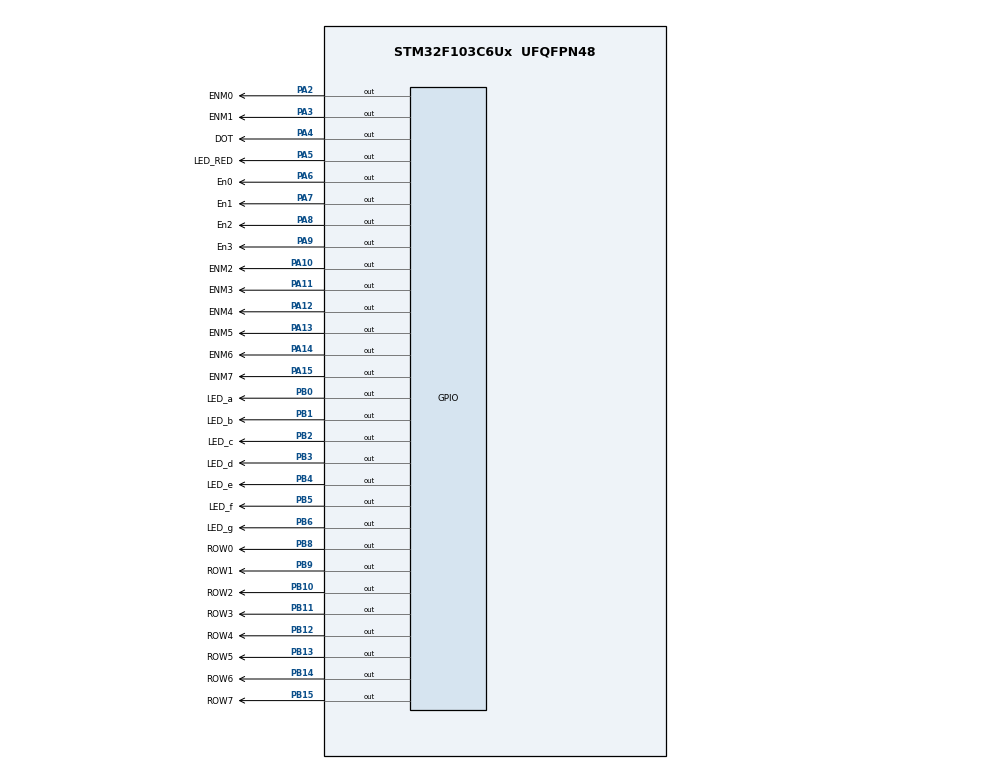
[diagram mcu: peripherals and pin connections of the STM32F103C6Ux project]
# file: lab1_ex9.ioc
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Mcu.Family=STM32F1
Mcu.Name=STM32F103C6Ux
Mcu.Package=UFQFPN48
NVIC.PriorityGroup=NVIC_PRIORITYGROUP_4
NVIC.TIM2_IRQn=true\:0\:0\:false\:false\:true\:true\:true\:true
PA10.GPIO_Label=ENM2
PA10.Signal=GPIO_Output
PA11.GPIO_Label=ENM3
PA11.Signal=GPIO_Output
PA12.GPIO_Label=ENM4
PA12.Signal=GPIO_Output
PA13.GPIO_Label=ENM5
PA13.Signal=GPIO_Output
PA14.GPIO_Label=ENM6
PA14.Signal=GPIO_Output
PA15.GPIO_Label=ENM7
PA15.Signal=GPIO_Output
PA2.GPIO_Label=ENM0
PA2.Signal=GPIO_Output
PA3.GPIO_Label=ENM1
PA3.Signal=GPIO_Output
PA4.GPIO_Label=DOT
PA4.Signal=GPIO_Output
PA5.GPIO_Label=LED_RED
PA5.Signal=GPIO_Output
PA6.GPIO_Label=En0
PA6.Signal=GPIO_Output
PA7.GPIO_Label=En1
PA7.Signal=GPIO_Output
PA8.GPIO_Label=En2
PA8.Signal=GPIO_Output
PA9.GPIO_Label=En3
PA9.Signal=GPIO_Output
PB0.GPIO_Label=LED_a
PB0.Signal=GPIO_Output
PB1.GPIO_Label=LED_b
PB1.Signal=GPIO_Output
PB10.GPIO_Label=ROW2
PB10.Signal=GPIO_Output
PB11.GPIO_Label=ROW3
PB11.Signal=GPIO_Output
PB12.GPIO_Label=ROW4
PB12.Signal=GPIO_Output
PB13.GPIO_Label=ROW5
PB13.Signal=GPIO_Output
PB14.GPIO_Label=ROW6
PB14.Signal=GPIO_Output
PB15.GPIO_Label=ROW7
PB15.Signal=GPIO_Output
PB2.GPIO_Label=LED_c
PB2.Signal=GPIO_Output
PB3.GPIO_Label=LED_d
PB3.Signal=GPIO_Output
PB4.GPIO_Label=LED_e
PB4.Signal=GPIO_Output
PB5.GPIO_Label=LED_f
PB5.Signal=GPIO_Output
PB6.GPIO_Label=LED_g
PB6.Signal=GPIO_Output
PB8.GPIO_Label=ROW0
PB8.Signal=GPIO_Output
PB9.GPIO_Label=ROW1
PB9.Signal=GPIO_Output
ProjectManager.HeapSize=0x200
ProjectManager.StackSize=0x400
ProjectManager.TargetToolchain=STM32CubeIDE
RCC.APB1Freq_Value=8000000
RCC.APB2Freq_Value=8000000
TIM2.Period=9
TIM2.Prescaler=7999
VP_SYS_VS_ND.Mode=No_Debug
VP_TIM2_VS_ClockSourceINT.Mode=Internal
board=custom

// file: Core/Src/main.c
/* USER CODE BEGIN Header */
/**
  ******************************************************************************
  * @file           : main.c
  * @brief          : Main program body
  ******************************************************************************
  * @attention
  *
  * Copyright (c) 2025 STMicroelectronics.
  * All rights reserved.
  *
  * This software is licensed under terms that can be found in the LICENSE file
  * in the root directory of this software component.
  * If no LICENSE file comes with this software, it is provided AS-IS.
  *
  ******************************************************************************
  */
/* USER CODE END Header */
#include "main.h"

TIM_HandleTypeDef htim2;

void SystemClock_Config(void);
static void MX_GPIO_Init(void);
static void MX_TIM2_Init(void);

/* USER CODE BEGIN 0 */
int timer0_counter = 0;
int timer0_flag = 0;
int TIMER_CYCLE = 10;
void setTimer0(int duration){
	timer0_counter = duration / 10;
	timer0_flag = 0;
}
void timer_run(){
	if(timer0_counter > 0){
		 timer0_counter--;
		 if(timer0_counter == 0) timer0_flag = 1;
	}
}

int hour = 23, minute = 598, second = 55;

void clear7SEG() {
    HAL_GPIO_WritePin(LED_a_GPIO_Port, LED_a_Pin, GPIO_PIN_SET);
    HAL_GPIO_WritePin(LED_b_GPIO_Port, LED_b_Pin, GPIO_PIN_SET);
    HAL_GPIO_WritePin(LED_c_GPIO_Port, LED_c_Pin, GPIO_PIN_SET);
    HAL_GPIO_WritePin(LED_d_GPIO_Port, LED_d_Pin, GPIO_PIN_SET);
    HAL_GPIO_WritePin(LED_e_GPIO_Port, LED_e_Pin, GPIO_PIN_SET);
    HAL_GPIO_WritePin(LED_f_GPIO_Port, LED_f_Pin, GPIO_PIN_SET);
    HAL_GPIO_WritePin(LED_g_GPIO_Port, LED_g_Pin, GPIO_PIN_SET);
}

void display7SEG(int num){
	  // common anode => set = off; reset= on
	  clear7SEG();
	  switch(num){
	  case 0:
		  HAL_GPIO_WritePin(LED_g_GPIO_Port, LED_g_Pin, SET);

		  HAL_GPIO_WritePin(LED_a_GPIO_Port, LED_a_Pin, RESET);
		  HAL_GPIO_WritePin(LED_b_GPIO_Port, LED_b_Pin, RESET);
		  HAL_GPIO_WritePin(LED_c_GPIO_Port, LED_c_Pin, RESET);
		  HAL_GPIO_WritePin(LED_d_GPIO_Port, LED_d_Pin, RESET);
		  HAL_GPIO_WritePin(LED_e_GPIO_Port, LED_e_Pin, RESET);
		  HAL_GPIO_WritePin(LED_f_GPIO_Port, LED_f_Pin, RESET);
		  break;

	  case 1:
		  HAL_GPIO_WritePin(LED_a_GPIO_Port, LED_a_Pin, SET);
		  HAL_GPIO_WritePin(LED_f_GPIO_Port, LED_f_Pin, SET);
		  HAL_GPIO_WritePin(LED_e_GPIO_Port, LED_e_Pin, SET);
		  HAL_GPIO_WritePin(LED_d_GPIO_Port, LED_d_Pin, SET);

		  HAL_GPIO_WritePin(LED_b_GPIO_Port, LED_b_Pin, RESET);
		  HAL_GPIO_WritePin(LED_c_GPIO_Port, LED_c_Pin, RESET);
		  break;
     case 2: // a b d e g sang
         HAL_GPIO_WritePin(LED_a_GPIO_Port, LED_a_Pin, GPIO_PIN_RESET);
         HAL_GPIO_WritePin(LED_b_GPIO_Port, LED_b_Pin, GPIO_PIN_RESET);
         HAL_GPIO_WritePin(LED_c_GPIO_Port, LED_c_Pin, GPIO_PIN_SET);
         HAL_GPIO_WritePin(LED_d_GPIO_Port, LED_d_Pin, GPIO_PIN_RESET);
         HAL_GPIO_WritePin(LED_e_GPIO_Port, LED_e_Pin, GPIO_PIN_RESET);
         HAL_GPIO_WritePin(LED_f_GPIO_Port, LED_f_Pin, GPIO_PIN_SET);
         HAL_GPIO_WritePin(LED_g_GPIO_Port, LED_g_Pin, GPIO_PIN_RESET);
         break;
     case 3: // a b c d g sang
         HAL_GPIO_WritePin(LED_a_GPIO_Port, LED_a_Pin, GPIO_PIN_RESET);
         HAL_GPIO_WritePin(LED_b_GPIO_Port, LED_b_Pin, GPIO_PIN_RESET);
         HAL_GPIO_WritePin(LED_c_GPIO_Port, LED_c_Pin, GPIO_PIN_RESET);
         HAL_GPIO_WritePin(LED_d_GPIO_Port, LED_d_Pin, GPIO_PIN_RESET);
         HAL_GPIO_WritePin(LED_e_GPIO_Port, LED_e_Pin, GPIO_PIN_SET);
         HAL_GPIO_WritePin(LED_f_GPIO_Port, LED_f_Pin, GPIO_PIN_SET);
         HAL_GPIO_WritePin(LED_g_GPIO_Port, LED_g_Pin, GPIO_PIN_RESET);
         break;

     case 4: // b c f g sang
         HAL_GPIO_WritePin(LED_a_GPIO_Port, LED_a_Pin, GPIO_PIN_SET);
         HAL_GPIO_WritePin(LED_b_GPIO_Port, LED_b_Pin, GPIO_PIN_RESET);
         HAL_GPIO_WritePin(LED_c_GPIO_Port, LED_c_Pin, GPIO_PIN_RESET);
         HAL_GPIO_WritePin(LED_d_GPIO_Port, LED_d_Pin, GPIO_PIN_SET);
         HAL_GPIO_WritePin(LED_e_GPIO_Port, LED_e_Pin, GPIO_PIN_SET);
         HAL_GPIO_WritePin(LED_f_GPIO_Port, LED_f_Pin, GPIO_PIN_RESET);
         HAL_GPIO_WritePin(LED_g_GPIO_Port, LED_g_Pin, GPIO_PIN_RESET);
         break;

     case 5: // a c d f g sang
         HAL_GPIO_WritePin(LED_a_GPIO_Port, LED_a_Pin, GPIO_PIN_RESET);
         HAL_GPIO_WritePin(LED_b_GPIO_Port, LED_b_Pin, GPIO_PIN_SET);
         HAL_GPIO_WritePin(LED_c_GPIO_Port, LED_c_Pin, GPIO_PIN_RESET);
         HAL_GPIO_WritePin(LED_d_GPIO_Port, LED_d_Pin, GPIO_PIN_RESET);
         HAL_GPIO_WritePin(LED_e_GPIO_Port, LED_e_Pin, GPIO_PIN_SET);
         HAL_GPIO_WritePin(LED_f_GPIO_Port, LED_f_Pin, GPIO_PIN_RESET);
         HAL_GPIO_WritePin(LED_g_GPIO_Port, LED_g_Pin, GPIO_PIN_RESET);
         break;

     case 6: // a c d e f g sang
         HAL_GPIO_WritePin(LED_a_GPIO_Port, LED_a_Pin, GPIO_PIN_RESET);
         HAL_GPIO_WritePin(LED_b_GPIO_Port, LED_b_Pin, GPIO_PIN_SET);
         HAL_GPIO_WritePin(LED_c_GPIO_Port, LED_c_Pin, GPIO_PIN_RESET);
         HAL_GPIO_WritePin(LED_d_GPIO_Port, LED_d_Pin, GPIO_PIN_RESET);
         HAL_GPIO_WritePin(LED_e_GPIO_Port, LED_e_Pin, GPIO_PIN_RESET);
         HAL_GPIO_WritePin(LED_f_GPIO_Port, LED_f_Pin, GPIO_PIN_RESET);
         HAL_GPIO_WritePin(LED_g_GPIO_Port, LED_g_Pin, GPIO_PIN_RESET);
         break;

     case 7: // a b c sang
         HAL_GPIO_WritePin(LED_a_GPIO_Port, LED_a_Pin, GPIO_PIN_RESET);
         HAL_GPIO_WritePin(LED_b_GPIO_Port, LED_b_Pin, GPIO_PIN_RESET);
         HAL_GPIO_WritePin(LED_c_GPIO_Port, LED_c_Pin, GPIO_PIN_RESET);
         HAL_GPIO_WritePin(LED_d_GPIO_Port, LED_d_Pin, GPIO_PIN_SET);
         HAL_GPIO_WritePin(LED_e_GPIO_Port, LED_e_Pin, GPIO_PIN_SET);
         HAL_GPIO_WritePin(LED_f_GPIO_Port, LED_f_Pin, GPIO_PIN_SET);
         HAL_GPIO_WritePin(LED_g_GPIO_Port, LED_g_Pin, GPIO_PIN_SET);
         break;

     case 8: // all
         HAL_GPIO_WritePin(LED_a_GPIO_Port, LED_a_Pin, GPIO_PIN_RESET);
         HAL_GPIO_WritePin(LED_b_GPIO_Port, LED_b_Pin, GPIO_PIN_RESET);
         HAL_GPIO_WritePin(LED_c_GPIO_Port, LED_c_Pin, GPIO_PIN_RESET);
         HAL_GPIO_WritePin(LED_d_GPIO_Port, LED_d_Pin, GPIO_PIN_RESET);
         HAL_GPIO_WritePin(LED_e_GPIO_Port, LED_e_Pin, GPIO_PIN_RESET);
         HAL_GPIO_WritePin(LED_f_GPIO_Port, LED_f_Pin, GPIO_PIN_RESET);
         HAL_GPIO_WritePin(LED_g_GPIO_Port, LED_g_Pin, GPIO_PIN_RESET);
         break;

     case 9: // a b c d f g sang
         HAL_GPIO_WritePin(LED_a_GPIO_Port, LED_a_Pin, GPIO_PIN_RESET);
         HAL_GPIO_WritePin(LED_b_GPIO_Port, LED_b_Pin, GPIO_PIN_RESET);
         HAL_GPIO_WritePin(LED_c_GPIO_Port, LED_c_Pin, GPIO_PIN_RESET);
         HAL_GPIO_WritePin(LED_d_GPIO_Port, LED_d_Pin, GPIO_PIN_RESET);
         HAL_GPIO_WritePin(LED_e_GPIO_Port, LED_e_Pin, GPIO_PIN_SET);
         HAL_GPIO_WritePin(LED_f_GPIO_Port, LED_f_Pin, GPIO_PIN_RESET);
         HAL_GPIO_WritePin(LED_g_GPIO_Port, LED_g_Pin, GPIO_PIN_RESET);
         break;
	  }
 }

const unsigned int MAX_LED = 4;
int led_buffer[4] ;
void update7SEG ( int index ){
	switch (index) {
		case 0:
			display7SEG(led_buffer[0]);
			HAL_GPIO_WritePin(En0_GPIO_Port, En0_Pin, GPIO_PIN_RESET);
			HAL_GPIO_WritePin(En1_GPIO_Port, En1_Pin, GPIO_PIN_SET);
			HAL_GPIO_WritePin(En2_GPIO_Port, En2_Pin, GPIO_PIN_SET);
			HAL_GPIO_WritePin(En3_GPIO_Port, En3_Pin, GPIO_PIN_SET);
			break;
		case 1:
			display7SEG(led_buffer[1]);
			HAL_GPIO_WritePin(En0_GPIO_Port, En0_Pin, GPIO_PIN_SET);
			HAL_GPIO_WritePin(En1_GPIO_Port, En1_Pin, GPIO_PIN_RESET);
			HAL_GPIO_WritePin(En2_GPIO_Port, En2_Pin, GPIO_PIN_SET);
			HAL_GPIO_WritePin(En3_GPIO_Port, En3_Pin, GPIO_PIN_SET);
			break;
		case 2:
			display7SEG(led_buffer[2]);
			HAL_GPIO_WritePin(En0_GPIO_Port, En0_Pin, GPIO_PIN_SET);
			HAL_GPIO_WritePin(En1_GPIO_Port, En1_Pin, GPIO_PIN_SET);
			HAL_GPIO_WritePin(En2_GPIO_Port, En2_Pin, GPIO_PIN_RESET);
			HAL_GPIO_WritePin(En3_GPIO_Port, En3_Pin, GPIO_PIN_SET);
			break;
		case 3:
			display7SEG(led_buffer[3]);
			HAL_GPIO_WritePin(En0_GPIO_Port, En0_Pin, GPIO_PIN_SET);
			HAL_GPIO_WritePin(En1_GPIO_Port, En1_Pin, GPIO_PIN_SET);
			HAL_GPIO_WritePin(En2_GPIO_Port, En2_Pin, GPIO_PIN_SET);
			HAL_GPIO_WritePin(En3_GPIO_Port, En3_Pin, GPIO_PIN_RESET);
			break;
		default:
			HAL_GPIO_WritePin(En0_GPIO_Port, En0_Pin, GPIO_PIN_RESET);
			HAL_GPIO_WritePin(En1_GPIO_Port, En1_Pin, GPIO_PIN_RESET);
			HAL_GPIO_WritePin(En2_GPIO_Port, En2_Pin, GPIO_PIN_RESET);
			HAL_GPIO_WritePin(En3_GPIO_Port, En3_Pin, GPIO_PIN_RESET);
			break;
	}
}

void updateClockBuffer() {
	led_buffer[0] = hour / 10;
	led_buffer[1] = hour % 10;
	led_buffer[2] = minute / 10;
	led_buffer[3] = minute % 10;
}

const int MAX_LED_MATRIX = 8;
int index_led_matrix = 0;

uint8_t matrix_buffer[8] = {
    0b11111111,  // hàng 1
    0b11100111,  // hàng 2
    0b11011011,  // hàng 3
    0b10111101,  // hàng 4
    0b10000001,  // hàng 5
    0b10111101,  // hàng 6
    0b10111101,  // hàng 7
    0b11111111   // hàng 8
};

void clearAllRows(){
	HAL_GPIO_WritePin(GPIOB, ROW0_Pin, SET);
	HAL_GPIO_WritePin(GPIOB, ROW1_Pin, SET);
	HAL_GPIO_WritePin(GPIOB, ROW2_Pin, SET);
	HAL_GPIO_WritePin(GPIOB, ROW3_Pin, SET);
	HAL_GPIO_WritePin(GPIOB, ROW4_Pin, SET);
	HAL_GPIO_WritePin(GPIOB, ROW5_Pin, SET);
	HAL_GPIO_WritePin(GPIOB, ROW6_Pin, SET);
	HAL_GPIO_WritePin(GPIOB, ROW7_Pin, SET);
}

void enableRow(uint8_t index) {
    switch(index) {
        case 0: HAL_GPIO_WritePin(GPIOB, ROW0_Pin, GPIO_PIN_RESET); break;
        case 1: HAL_GPIO_WritePin(GPIOB, ROW1_Pin, GPIO_PIN_RESET); break;
        case 2: HAL_GPIO_WritePin(GPIOB, ROW2_Pin, GPIO_PIN_RESET); break;
        case 3: HAL_GPIO_WritePin(GPIOB, ROW3_Pin, GPIO_PIN_RESET); break;
        case 4: HAL_GPIO_WritePin(GPIOB, ROW4_Pin, GPIO_PIN_RESET); break;
        case 5: HAL_GPIO_WritePin(GPIOB, ROW5_Pin, GPIO_PIN_RESET); break;
        case 6: HAL_GPIO_WritePin(GPIOB, ROW6_Pin, GPIO_PIN_RESET); break;
        case 7: HAL_GPIO_WritePin(GPIOB, ROW7_Pin, GPIO_PIN_RESET); break;
        default: break;
    }
}

void outputToColumns(uint8_t data) {
    // COL0..COL7 = PA2, PA3, PA10..PA15
    HAL_GPIO_WritePin(GPIOA, GPIO_PIN_2,  (data & 0x01) ? GPIO_PIN_SET : GPIO_PIN_RESET);
    HAL_GPIO_WritePin(GPIOA, GPIO_PIN_3,  (data & 0x02) ? GPIO_PIN_SET : GPIO_PIN_RESET);
    HAL_GPIO_WritePin(GPIOA, GPIO_PIN_10, (data & 0x04) ? GPIO_PIN_SET : GPIO_PIN_RESET);
    HAL_GPIO_WritePin(GPIOA, GPIO_PIN_11, (data & 0x08) ? GPIO_PIN_SET : GPIO_PIN_RESET);
    HAL_GPIO_WritePin(GPIOA, GPIO_PIN_12, (data & 0x10) ? GPIO_PIN_SET : GPIO_PIN_RESET);
    HAL_GPIO_WritePin(GPIOA, GPIO_PIN_13, (data & 0x20) ? GPIO_PIN_SET : GPIO_PIN_RESET);
    HAL_GPIO_WritePin(GPIOA, GPIO_PIN_14, (data & 0x40) ? GPIO_PIN_SET : GPIO_PIN_RESET);
    HAL_GPIO_WritePin(GPIOA, GPIO_PIN_15, (data & 0x80) ? GPIO_PIN_SET : GPIO_PIN_RESET);
}

void updateLEDMatrix(int index) {
    clearAllRows();
    outputToColumns(matrix_buffer[index]);
    enableRow(index);
}

void displayMatrix(uint8_t *buffer);

void shiftLeftAnimation() {
    for (int i = 0; i < 8; i++) {
        uint8_t msb = (matrix_buffer[i] & 0x80) >> 7;
        matrix_buffer[i] <<= 1;
        matrix_buffer[i] |= msb;
    }
}

/* USER CODE END 0 */

int main(void)
{

  /* MCU Configuration--------------------------------------------------------*/

  /* Reset of all peripherals, Initializes the Flash interface and the Systick. */
  HAL_Init();

  /* Configure the system clock */
  SystemClock_Config();

  /* Initialize all configured peripherals */
  MX_GPIO_Init();
  MX_TIM2_Init();
  /* USER CODE BEGIN 2 */
  updateClockBuffer();
  HAL_TIM_Base_Start_IT (&htim2);
  /* USER CODE END 2 */

  /* Infinite loop */
  /* USER CODE BEGIN WHILE */
  setTimer0(1000);
    while (1)
    {
      /* USER CODE END WHILE */
  	  if(timer0_flag == 1){
  		  HAL_GPIO_TogglePin(LED_RED_GPIO_Port, LED_RED_Pin);
  		  setTimer0(2000);
  	  }
  second++;
      if (second >= 60)
      {
          second = 0;
          minute++;
      }
      if (minute >= 60)
      {
          minute = 0;
          hour++;
      }
      if (hour >= 24)
      {
          hour = 0;
      }
      updateClockBuffer();
      HAL_Delay(1000);
    }
  }
void SystemClock_Config(void)
{
  RCC_OscInitTypeDef RCC_OscInitStruct = {0};
  RCC_ClkInitTypeDef RCC_ClkInitStruct = {0};

  /** Initializes the RCC Oscillators according to the specified parameters
  * in the RCC_OscInitTypeDef structure.
  */
  RCC_OscInitStruct.OscillatorType = RCC_OSCILLATORTYPE_HSI;
  RCC_OscInitStruct.HSIState = RCC_HSI_ON;
  RCC_OscInitStruct.HSICalibrationValue = RCC_HSICALIBRATION_DEFAULT;
  RCC_OscInitStruct.PLL.PLLState = RCC_PLL_NONE;
  if (HAL_RCC_OscConfig(&RCC_OscInitStruct) != HAL_OK)
  {
    Error_Handler();
  }

  /** Initializes the CPU, AHB and APB buses clocks
  */
  RCC_ClkInitStruct.ClockType = RCC_CLOCKTYPE_HCLK|RCC_CLOCKTYPE_SYSCLK
                              |RCC_CLOCKTYPE_PCLK1|RCC_CLOCKTYPE_PCLK2;
  RCC_ClkInitStruct.SYSCLKSource = RCC_SYSCLKSOURCE_HSI;
  RCC_ClkInitStruct.AHBCLKDivider = RCC_SYSCLK_DIV1;
  RCC_ClkInitStruct.APB1CLKDivider = RCC_HCLK_DIV1;
  RCC_ClkInitStruct.APB2CLKDivider = RCC_HCLK_DIV1;

  if (HAL_RCC_ClockConfig(&RCC_ClkInitStruct, FLASH_LATENCY_0) != HAL_OK)
  {
    Error_Handler();
  }
}

static void MX_TIM2_Init(void)
{

  TIM_ClockConfigTypeDef sClockSourceConfig = {0};
  TIM_MasterConfigTypeDef sMasterConfig = {0};

  htim2.Instance = TIM2;
  htim2.Init.Prescaler = 7999;
  htim2.Init.CounterMode = TIM_COUNTERMODE_UP;
  htim2.Init.Period = 9;
  htim2.Init.ClockDivision = TIM_CLOCKDIVISION_DIV1;
  htim2.Init.AutoReloadPreload = TIM_AUTORELOAD_PRELOAD_DISABLE;
  if (HAL_TIM_Base_Init(&htim2) != HAL_OK)
  {
    Error_Handler();
  }
  sClockSourceConfig.ClockSource = TIM_CLOCKSOURCE_INTERNAL;
  if (HAL_TIM_ConfigClockSource(&htim2, &sClockSourceConfig) != HAL_OK)
  {
    Error_Handler();
  }
  sMasterConfig.MasterOutputTrigger = TIM_TRGO_RESET;
  sMasterConfig.MasterSlaveMode = TIM_MASTERSLAVEMODE_DISABLE;
  if (HAL_TIMEx_MasterConfigSynchronization(&htim2, &sMasterConfig) != HAL_OK)
  {
    Error_Handler();
  }

}

static void MX_GPIO_Init(void)
{
  GPIO_InitTypeDef GPIO_InitStruct = {0};

  /* GPIO Ports Clock Enable */
  __HAL_RCC_GPIOA_CLK_ENABLE();
  __HAL_RCC_GPIOB_CLK_ENABLE();

  /*Configure GPIO pin Output Level */
  HAL_GPIO_WritePin(GPIOA, ENM0_Pin|ENM1_Pin|DOT_Pin|LED_RED_Pin
                          |En0_Pin|En1_Pin|En2_Pin|En3_Pin
                          |ENM2_Pin|ENM3_Pin|ENM4_Pin|ENM5_Pin
                          |ENM6_Pin|ENM7_Pin, GPIO_PIN_RESET);

  /*Configure GPIO pin Output Level */
  HAL_GPIO_WritePin(GPIOB, LED_a_Pin|LED_b_Pin|LED_c_Pin|ROW2_Pin
                          |ROW3_Pin|ROW4_Pin|ROW5_Pin|ROW6_Pin
                          |ROW7_Pin|LED_d_Pin|LED_e_Pin|LED_f_Pin
                          |LED_g_Pin|ROW0_Pin|ROW1_Pin, GPIO_PIN_RESET);

  /*Configure GPIO pins : ENM0_Pin ENM1_Pin DOT_Pin LED_RED_Pin
                           En0_Pin En1_Pin En2_Pin En3_Pin
                           ENM2_Pin ENM3_Pin ENM4_Pin ENM5_Pin
                           ENM6_Pin ENM7_Pin */
  GPIO_InitStruct.Pin = ENM0_Pin|ENM1_Pin|DOT_Pin|LED_RED_Pin
                          |En0_Pin|En1_Pin|En2_Pin|En3_Pin
                          |ENM2_Pin|ENM3_Pin|ENM4_Pin|ENM5_Pin
                          |ENM6_Pin|ENM7_Pin;
  GPIO_InitStruct.Mode = GPIO_MODE_OUTPUT_PP;
  GPIO_InitStruct.Pull = GPIO_NOPULL;
  GPIO_InitStruct.Speed = GPIO_SPEED_FREQ_LOW;
  HAL_GPIO_Init(GPIOA, &GPIO_InitStruct);

  /*Configure GPIO pins : LED_a_Pin LED_b_Pin LED_c_Pin ROW2_Pin
                           ROW3_Pin ROW4_Pin ROW5_Pin ROW6_Pin
                           ROW7_Pin LED_d_Pin LED_e_Pin LED_f_Pin
                           LED_g_Pin ROW0_Pin ROW1_Pin */
  GPIO_InitStruct.Pin = LED_a_Pin|LED_b_Pin|LED_c_Pin|ROW2_Pin
                          |ROW3_Pin|ROW4_Pin|ROW5_Pin|ROW6_Pin
                          |ROW7_Pin|LED_d_Pin|LED_e_Pin|LED_f_Pin
                          |LED_g_Pin|ROW0_Pin|ROW1_Pin;
  GPIO_InitStruct.Mode = GPIO_MODE_OUTPUT_PP;
  GPIO_InitStruct.Pull = GPIO_NOPULL;
  GPIO_InitStruct.Speed = GPIO_SPEED_FREQ_LOW;
  HAL_GPIO_Init(GPIOB, &GPIO_InitStruct);

}

/* USER CODE BEGIN 4 */
const unsigned int SCALE = 200;
int counter = SCALE;
unsigned int index_led = 0;
int shift_tick=0;
int matrix_tick = 0;

void HAL_TIM_PeriodElapsedCallback(TIM_HandleTypeDef *htim)
{
    timer_run();

    matrix_tick++;
    if (matrix_tick >= 1) {
        updateLEDMatrix(index_led_matrix);
        index_led_matrix = (index_led_matrix + 1) % MAX_LED_MATRIX;
        matrix_tick = 0;
    }

    shift_tick++;
    if (shift_tick >= 100) {   // khoảng 100ms
        shiftLeftAnimation();
        shift_tick = 0;
    }

    if (counter % 250 == 0) {
        update7SEG(index_led++);
        if (index_led >= MAX_LED) index_led = 0;
    }

    if (counter % 1000 == 0) {
        HAL_GPIO_TogglePin(DOT_GPIO_Port, DOT_Pin);
    }

    counter = (counter > 0) ? counter - 1 : SCALE;
}

/* USER CODE END 4 */

void Error_Handler(void)
{
  __disable_irq();
  while (1)
  {
  }
}
